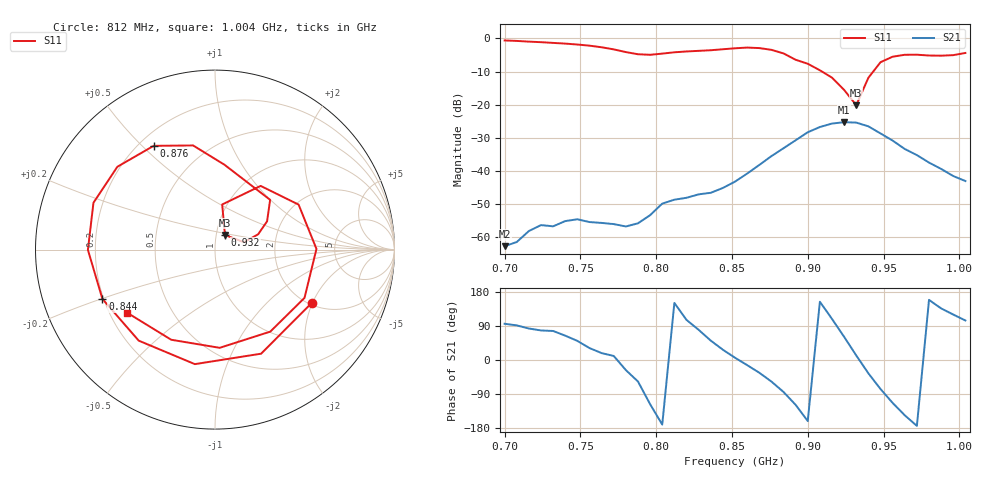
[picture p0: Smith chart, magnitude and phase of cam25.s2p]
# Hz S RI R 50
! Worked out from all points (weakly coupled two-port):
!   39 points, 700 MHz to 1.004 GHz, reference 50 ohm
!   highest |S21| = -25.28 dB at 924 MHz (marker M1); lowest = -62.7 dB at 700 MHz (marker M2)
!   lowest |S11| = -20.2 dB at 932 MHz (marker M3), VSWR 1.22, Z = 55.1 + j9.02 ohm
!   |S11| at or under -10 dB: 909.4 MHz to 943.2 MHz (33.87 MHz wide, 3.66 % of centre)
!   S12 and S22 are empty: the file has one direction only
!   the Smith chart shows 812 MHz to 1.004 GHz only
!   S11 on the Smith chart (normalised r, x): 812 MHz: 2.08, -1.98; 844 MHz: 0.19, -0.20; 876 MHz: 0.26, +0.54; 932 MHz: 1.10, +0.18; 1.004 GHz: 0.27, -0.30
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7e8  0.7637 0.5295  -7.15e-05 0.000733  0 0  0 0
7.24e8  0.8359 -0.26  0.000319 0.0015  0 0  0 0
7.4e8  0.449 -0.7026  0.000765 0.00158  0 0  0 0
7.56e8  -0.1956 -0.7507  0.00145 0.000889  0 0  0 0
7.72e8  -0.6549 -0.1903  0.00156 0.000293  0 0  0 0
7.8e8  -0.5771 0.2286  0.0013 -0.000655  0 0  0 0
7.88e8  -0.2266 0.5294  0.000892 -0.00136  0 0  0 0
7.96e8  0.2546 0.5045  -0.00097 -0.00193  0 0  0 0
8.04e8  0.5684 0.1531  -0.00318 -0.000538  0 0  0 0
8.12e8  0.5411 -0.295  -0.00322 0.00182  0 0  0 0
8.28e8  -0.1123 -0.6381  0.000798 0.00438  0 0  0 0
8.44e8  -0.6273 -0.2747  0.00495 0.00253  0 0  0 0
8.52e8  -0.7081 -0.00148  0.00688 0.000719  0 0  0 0
8.76e8  -0.3417 0.5781  0.00917 -0.014  0 0  0 0
9e8  0.3072 0.2773  -0.0364 -0.0125  0 0  0 0
9.08e8  0.2902 0.1576  -0.0413 0.0204  0 0  0 0
9.24e8  0.1619 0.0409  0.0263 0.0477  0 0  0 0
9.32e8  0.0554 0.0811  0.0525 0.0111  0 0  0 0
9.4e8  0.04 0.2514  0.0386 -0.0272  0 0  0 0
9.56e8  0.4658 0.2506  -0.0114 -0.0264  0 0  0 0
9.8e8  0.3081 -0.4569  -0.0125 0.00487  0 0  0 0
1.004e9  -0.4882 -0.3524  -0.00174 0.00685  0 0  0 0
